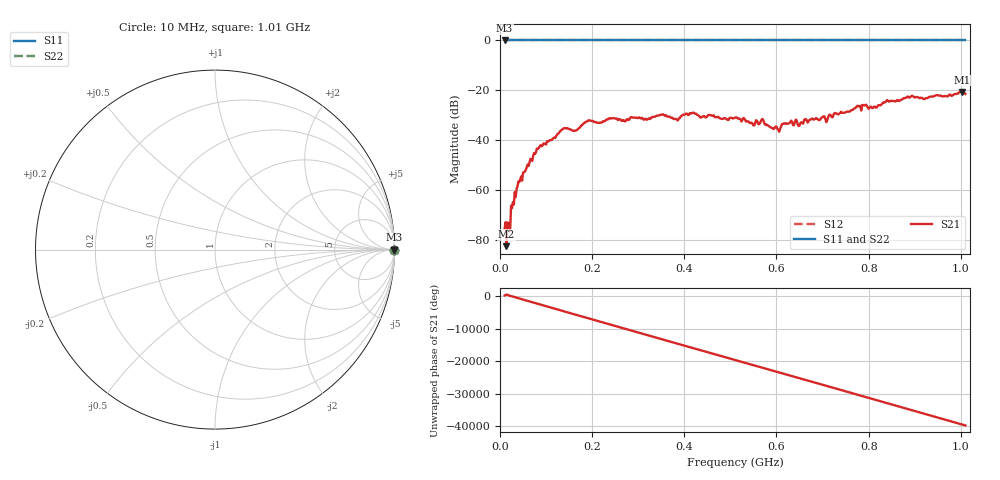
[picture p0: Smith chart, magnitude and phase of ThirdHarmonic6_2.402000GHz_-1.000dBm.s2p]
! 8/17/2025 3:58:19 AM
! C:\ANRITSUVNA\TEMP\TEMP.S2P
! CHANNEL.1
! TR.MEASUREMENT
! RAW.DATA
! RF.CORRECTION.OFF
! AVERAGING.OFF
! IF.BANDWIDTH: 5KHZ
! SWEEPTYPE:  FREQ.SWEEP(Linear)
! Reference Plane Port Info
! PORT:  PORT1  PORT2
! DISTANCE:  0  m  0  m
! TIME:  0  s  0  s
! PHASE.OFFSET:  0  deg.  0  deg.
! LOSS:  0  dB  0  dB
! REF.LOSS:  0  dB  0  dB
! REF.FREQ:  0  Hz  0  Hz
! Power Info
! POWER:  -20  dBm  -20  dBm
! EFF.POWER:  -20  dBm  -20  dBm
! SOURCE.ATTEN:  0  dB  0  dB
! TEST.ATTEN:  0  dB  0  dB
# GHZ S RI R 50.0
! FREQ.GHZ  S11RE  S11IM  S21RE  S21IM  S12RE  S12IM  S22RE  S22IM
!; PortSelection: Port_12
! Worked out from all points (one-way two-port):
!   501 points, 10 MHz to 1.01 GHz, reference 50 ohm
!   highest |S21| = -20.68 dB at 1.002 GHz (marker M1); lowest = -82.7 dB at 14 MHz (marker M2)
!   lowest |S11| = 0.0 dB at 10 MHz (marker M3)
!   |S11| at or under -10 dB: nowhere
!   |S22| runs from 0.0 to 0.0 dB; largest |S21 - S12| = 1.1
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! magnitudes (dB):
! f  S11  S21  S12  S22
! 10 MHz  0.0  -75.6  0.0  0.0
! 14 MHz  0.0  -82.7  0.0  0.0
! 18 MHz  0.0  -73.3  0.0  0.0
! 28 MHz  0.0  -65.0  0.0  0.0
! 42 MHz  0.0  -56.9  0.0  0.0
! 84 MHz  0.0  -43.3  0.0  0.0
! 136 MHz  0.0  -35.7  0.0  0.0
! 164 MHz  0.0  -36.2  0.0  0.0
! 178 MHz  0.0  -34.1  0.0  0.0
! 192 MHz  0.0  -32.1  0.0  0.0
! 344 MHz  0.0  -30.1  0.0  0.0
! 382 MHz  0.0  -31.5  0.0  0.0
! 416 MHz  0.0  -29.3  0.0  0.0
! 510 MHz  0.0  -31.0  0.0  0.0
! 548 MHz  0.0  -33.5  0.0  0.0
! 570 MHz  0.0  -31.5  0.0  0.0
! 604 MHz  0.0  -35.9  0.0  0.0
! 616 MHz  0.0  -33.3  0.0  0.0
! 678 MHz  0.0  -31.4  0.0  0.0
! 844 MHz  0.0  -24.6  0.0  0.0
! 1.002 GHz  0.0  -20.7  0.0  0.0
! 1.01 GHz  0.0  -21.5  0.0  0.0
